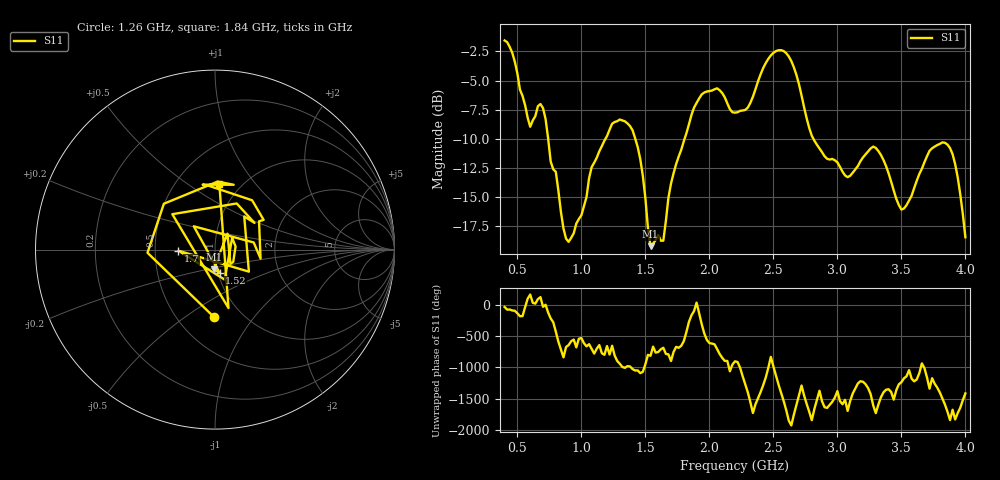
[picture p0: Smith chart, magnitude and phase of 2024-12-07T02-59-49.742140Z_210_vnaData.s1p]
!Created with skrf (http://scikit-rf.org).
# Hz S RI R 50.0
!freq ReS11 ImS11
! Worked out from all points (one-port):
!   181 points, 400 MHz to 4 GHz, reference 50 ohm
!   lowest |S11| = -19.2 dB at 1.54 GHz (marker M1), VSWR 1.25, Z = 48.1 - j10.7 ohm
!   |S11| at or under -10 dB: 740.4 MHz to 1.188 GHz (447.1 MHz wide, 46.4 % of centre); 1.421 GHz to 1.806 GHz (384.9 MHz wide, 23.9 % of centre); 2.813 GHz to end of sweep
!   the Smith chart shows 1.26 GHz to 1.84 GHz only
!   S11 on the Smith chart (normalised r, x): 1.26 GHz: 0.74, -0.65; 1.52 GHz: 1.02, -0.27; 1.7 GHz: 0.66, -0.01; 1.84 GHz: 0.80, +0.67
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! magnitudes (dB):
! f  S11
! 400 MHz  -1.6
! 600 MHz  -9.0
! 700 MHz  -7.4
! 860 MHz  -17.7
! 940 MHz  -18.1
! 1.08 GHz  -12.4
! 1.26 GHz  -8.6
! 1.3 GHz  -8.3
! 1.44 GHz  -10.7
! 1.52 GHz  -17.6
! 1.54 GHz  -19.2
! 1.64 GHz  -18.7
! 1.7 GHz  -13.8
! 1.76 GHz  -11.5
! 1.84 GHz  -8.8
! 2.06 GHz  -5.7
! 2.2 GHz  -7.8
! 2.5 GHz  -2.6
! 2.66 GHz  -3.9
! 2.82 GHz  -10.2
! 3.1 GHz  -13.2
! 3.28 GHz  -10.7
! 3.5 GHz  -16.1
! 3.56 GHz  -15.3
! 3.72 GHz  -11.0
! 3.84 GHz  -10.3
! 3.92 GHz  -12.2
! 4 GHz  -18.4
